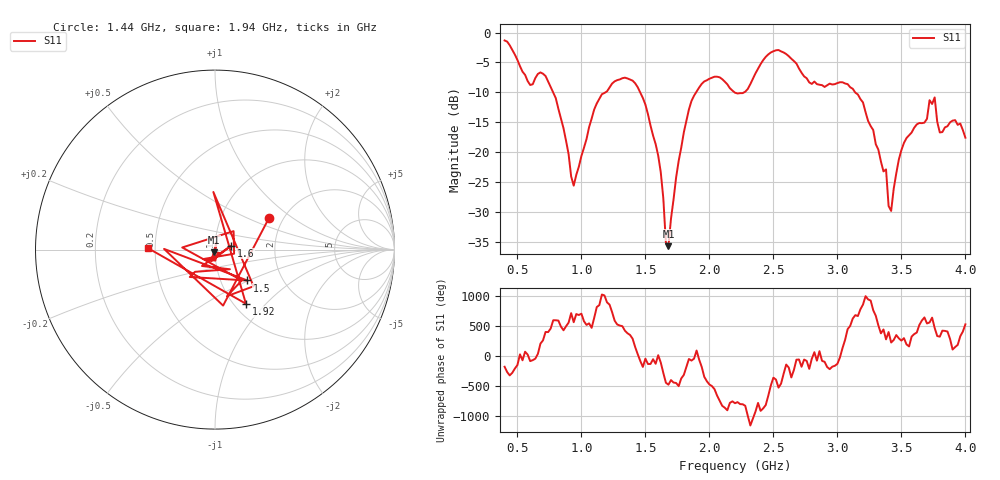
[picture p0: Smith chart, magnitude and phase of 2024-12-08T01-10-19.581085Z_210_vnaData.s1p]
!Created with skrf (http://scikit-rf.org).
# Hz S RI R 50.0
!freq ReS11 ImS11
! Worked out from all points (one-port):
!   181 points, 400 MHz to 4 GHz, reference 50 ohm
!   lowest |S11| = -35.8 dB at 1.68 GHz (marker M1), VSWR 1.03, Z = 49.3 - j1.44 ohm
!   |S11| at or under -10 dB: 779.4 MHz to 1.188 GHz (408.2 MHz wide, 41.5 % of centre); 1.459 GHz to 1.896 GHz (436.6 MHz wide, 26 % of centre); 3.139 GHz to end of sweep (the widest 3 of 4)
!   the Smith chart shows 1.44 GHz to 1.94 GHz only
!   S11 on the Smith chart (normalised r, x): 1.44 GHz: 1.69, +0.68; 1.5 GHz: 1.34, -0.49; 1.6 GHz: 1.20, +0.05; 1.92 GHz: 1.13, -0.78; 1.94 GHz: 0.46, +0.01
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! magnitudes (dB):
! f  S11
! 400 MHz  -1.3
! 600 MHz  -8.8
! 720 MHz  -7.3
! 860 MHz  -16.0
! 940 MHz  -25.6
! 1.12 GHz  -11.9
! 1.3 GHz  -7.8
! 1.44 GHz  -9.1
! 1.5 GHz  -12.1
! 1.6 GHz  -20.6
! 1.66 GHz  -35.2
! 1.68 GHz  -35.8
! 1.76 GHz  -21.5
! 1.92 GHz  -9.2
! 1.94 GHz  -8.6
! 2.2 GHz  -10.1
! 2.48 GHz  -3.3
! 2.66 GHz  -4.8
! 3.1 GHz  -9.1
! 3.28 GHz  -16.3
! 3.38 GHz  -22.9
! 3.4 GHz  -29.0
! 3.42 GHz  -29.9
! 3.48 GHz  -21.3
! 3.56 GHz  -17.2
! 3.76 GHz  -10.8
! 3.8 GHz  -16.7
! 4 GHz  -17.6
